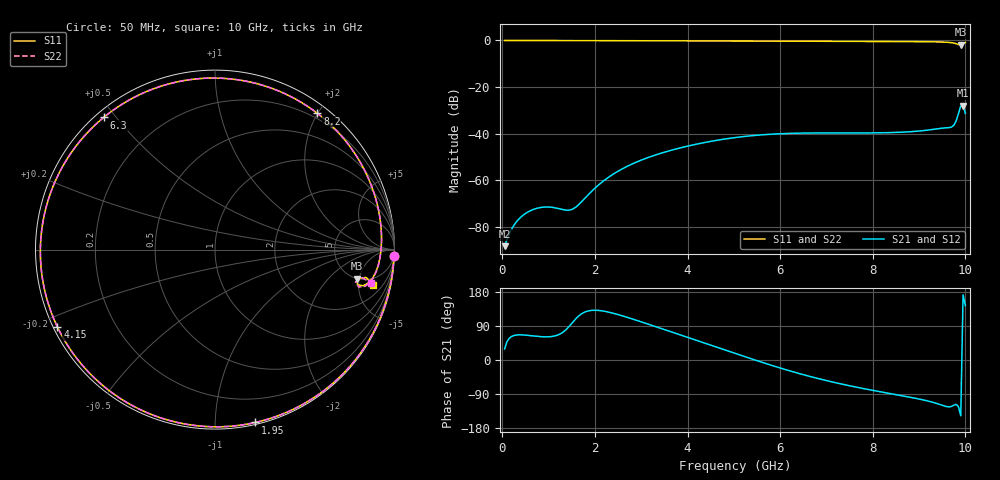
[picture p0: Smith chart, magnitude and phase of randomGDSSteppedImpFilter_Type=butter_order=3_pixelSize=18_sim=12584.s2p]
! freq	dB(S11)	phase(S11)	dB(S12)	phase(S12)
!  dB(S21)	phase(S21)	dB(S22)	phase(S22)
!S-par simulation data
#  GHz  S  DB  R 50
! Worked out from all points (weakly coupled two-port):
!   200 points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, 50 MHz to 10 GHz, reference 50 ohm
!   highest |S21| = -28.00 dB at 9.95 GHz (marker M1); lowest = -88.2 dB at 50 MHz (marker M2)
!   lowest |S11| = -1.8 dB at 9.9 GHz (marker M3), VSWR 9.46, Z = 250 - j234 ohm
!   |S11| at or under -10 dB: nowhere
!   |S22| runs from -1.9 to 0.0 dB; largest |S21 - S12| = 0
!   S11 on the Smith chart (normalised r, x): 50 MHz: 4, -57; 1.95 GHz: 0.01, -1.26; 4.15 GHz: 0.01, -0.23; 6.3 GHz: 0.02, +0.46; 8.2 GHz: 0.13, +2.00; 10 GHz: 3.49, -7.46
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0.05  -0.02 -2.0  -88.22 29.2  -88.22 29.2  -0.02 -2.1
0.2  -0.03 -8.1  -80.96 62.0  -80.96 62.0  -0.03 -8.2
0.7  -0.04 -28.4  -72.27 63.1  -72.27 63.1  -0.04 -28.4
1.45  -0.07 -57.9  -72.74 89.5  -72.74 89.5  -0.07 -57.9
1.75  -0.09 -69.3  -68.39 124.7  -68.39 124.7  -0.09 -69.3
1.95  -0.10 -76.8  -64.30 131.1  -64.30 131.1  -0.10 -76.8
2.55  -0.12 -98.7  -55.52 118.1  -55.52 118.1  -0.12 -98.6
3.4  -0.16 -128.3  -48.54 84.4  -48.54 84.4  -0.16 -128.3
4.15  -0.19 -153.8  -44.67 53.7  -44.67 53.7  -0.19 -153.8
5.05  -0.25 175.4  -41.60 16.6  -41.60 16.6  -0.25 175.5
5.65  -0.29 154.2  -40.42 -7.7  -40.42 -7.7  -0.29 154.3
6.3  -0.33 130.1  -39.81 -31.9  -39.81 -31.9  -0.33 130.2
6.7  -0.36 114.7  -39.69 -45.2  -39.69 -45.2  -0.36 114.8
7.45  -0.40 84.4  -39.68 -66.7  -39.68 -66.7  -0.40 84.5
8.2  -0.45 53.0  -39.60 -84.7  -39.60 -84.7  -0.45 53.2
8.35  -0.46 46.7  -39.54 -88.0  -39.54 -88.0  -0.46 46.8
9.1  -0.55 15.3  -38.67 -105.6  -38.67 -105.6  -0.55 15.5
9.7  -0.97 -10.0  -37.16 -122.5  -37.16 -122.5  -0.94 -9.8
9.8  -1.41 -13.7  -34.50 -117.1  -34.50 -117.1  -1.31 -13.8
9.9  -1.84 -11.5  -28.09 -147.2  -28.09 -147.2  -1.90 -13.0
9.95  -1.35 -10.4  -28.00 171.9  -28.00 171.9  -1.57 -10.8
10  -0.88 -12.6  -31.28 143.7  -31.28 143.7  -1.01 -12.1
